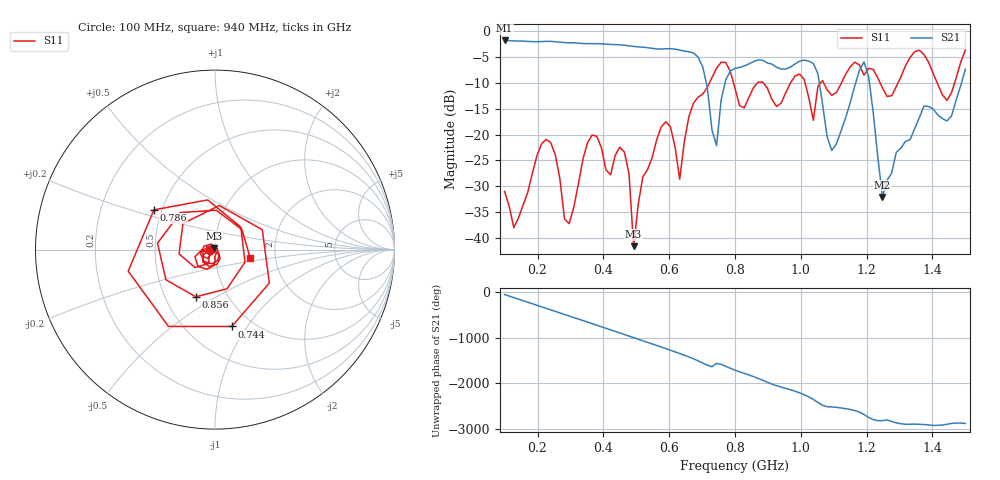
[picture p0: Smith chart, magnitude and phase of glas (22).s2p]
! NanoVNA-App
! Date: 2025-09-25 15:55:39
! Start: 100MHz Stop: 1,5GHz Points: 101
! S-Parameter data: F S11 S21 S12 S22
# Hz S RI R 50
!  Frequency  S11_Real  S11_Imag  S21_Real  S21_Imag  S12_Real  S12_Imag  S22_Real  S22_Imag
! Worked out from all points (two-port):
!   101 points, 100 MHz to 1.5 GHz, reference 50 ohm
!   highest |S21| = -1.80 dB at 100 MHz (marker M1); lowest = -32.1 dB at 1.248 GHz (marker M2)
!   |S21| within 3 dB of the highest: start of sweep to 684.3 MHz
!   lowest |S11| = -41.6 dB at 492 MHz (marker M3), VSWR 1.02, Z = 49.5 + j0.654 ohm
!   |S11| at or under -10 dB: start of sweep to 722.5 MHz; 795.4 MHz to 868.3 MHz (72.9 MHz wide, 8.76 % of centre); 886 MHz to 968.8 MHz (82.79 MHz wide, 8.93 % of centre) (the widest 3 of 7)
!   S12 and S22 are empty: the file has one direction only
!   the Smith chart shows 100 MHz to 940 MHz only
!   S11 on the Smith chart (normalised r, x): 100 MHz: 0.95, -0.01; 744 MHz: 0.80, -0.85; 786 MHz: 0.45, +0.24; 856 MHz: 0.71, -0.41; 940 MHz: 1.48, -0.14
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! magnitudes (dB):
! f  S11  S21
! 100 MHz  -31.0  -1.8
! 128 MHz  -38.0  -1.9
! 226 MHz  -20.9  -2.0
! 296 MHz  -37.2  -2.2
! 338 MHz  -24.7  -2.4
! 464 MHz  -23.4  -2.7
! 492 MHz  -41.6  -3.0
! 576 MHz  -18.5  -3.5
! 632 MHz  -28.6  -3.7
! 702 MHz  -12.2  -6.9
! 744 MHz  -7.2  -22.1
! 786 MHz  -7.8  -7.7
! 800 MHz  -11.1  -7.2
! 856 MHz  -10.9  -5.9
! 940 MHz  -13.9  -7.3
! 1.038 GHz  -17.2  -6.2
! 1.094 GHz  -12.4  -23.1
! 1.192 GHz  -8.5  -6.0
! 1.248 GHz  -11.0  -32.1
! 1.276 GHz  -12.5  -27.5
! 1.444 GHz  -13.4  -17.4
! 1.5 GHz  -3.7  -7.4
